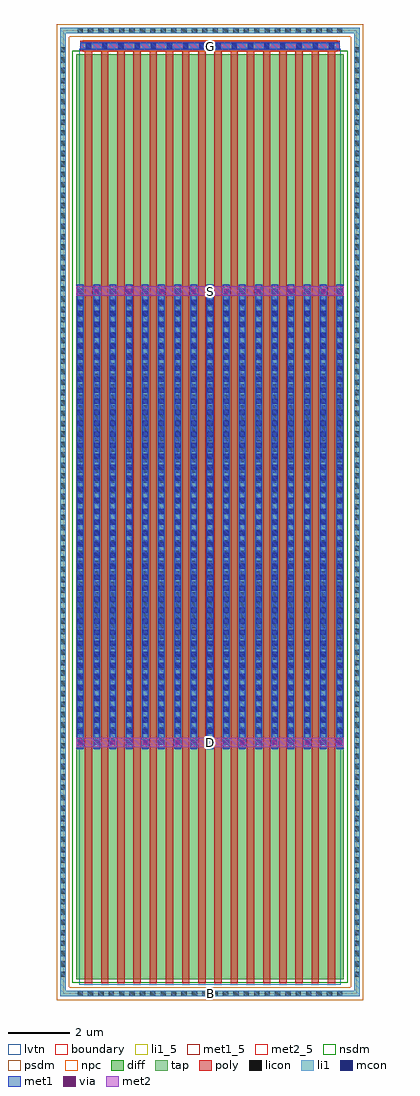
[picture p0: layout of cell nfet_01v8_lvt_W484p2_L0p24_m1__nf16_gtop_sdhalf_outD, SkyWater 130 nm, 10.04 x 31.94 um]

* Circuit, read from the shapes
.subckt nfet_01v8_lvt_W484p2_L0p24_m1__nf16_gtop_sdhalf_outD B D G S
XM1 S G D B sky130_fd_pr__nfet_01v8_lvt w=30.26 l=0.24 m=16
.ends

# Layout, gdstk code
import gdstk
lib = gdstk.Library(unit=1e-6, precision=1e-09)
def R(c, l, rs):  # rectangles x0, y0, x1, y1
    for r in rs: c.add(gdstk.rectangle(r[:2], r[2:], *l))
def A(c, l, x, y, w, h, nx, ny, dx, dy):  # array of equal rectangles
    R(c, l, [(x+i*dx, y+j*dy, x+i*dx+w, y+j*dy+h) for i in range(nx) for j in range(ny)])
diff = (65, 20)
tap = (65, 44)
poly = (66, 20)
licon = (66, 44)
li1_5 = (67, 5)
li1 = (67, 20)
mcon = (67, 44)
met1_5 = (68, 5)
met1 = (68, 20)
via = (68, 44)
met2_5 = (69, 5)
met2 = (69, 20)
nsdm = (93, 44)
psdm = (94, 20)
npc = (95, 20)
lvtn = (125, 44)
boundary = (235, 4)

sky130_fd_pr__nfet_01v8_ = lib.new_cell('sky130_fd_pr__nfet_01v8_lvt_XSEP3B')
R(sky130_fd_pr__nfet_01v8_, diff, [(-4.385,-15.285,4.385,14.975)])
R(sky130_fd_pr__nfet_01v8_, tap, [(-4.895,-15.845,4.895,-15.675), (-4.895,-15.675,-4.725,15.675), (4.725,-15.675,4.895,15.675), (-4.895,15.675,4.895,15.845)])
A(sky130_fd_pr__nfet_01v8_, poly, -4.095, -15.415, 0.24, 30.5, 16, 1, 0.53, 0)
R(sky130_fd_pr__nfet_01v8_, poly, [(-4.24,15.085,4.24,15.415)])
A(sky130_fd_pr__nfet_01v8_, licon, -4.335, -15.845, 0.17, 0.17, 26, 2, 0.34, 31.52)
A(sky130_fd_pr__nfet_01v8_, licon, -4.895, -15.215, 0.17, 0.17, 1, 90, 0, 0.34)
A(sky130_fd_pr__nfet_01v8_, licon, 4.725, -15.215, 0.17, 0.17, 1, 90, 0, 0.34)
A(sky130_fd_pr__nfet_01v8_, licon, -4.325, -7.55, 0.17, 0.17, 17, 44, 0.53, 0.34)
A(sky130_fd_pr__nfet_01v8_, licon, -4.06, 15.165, 0.17, 0.17, 16, 1, 0.53, 0)
A(sky130_fd_pr__nfet_01v8_, li1, -4.325, -7.77, 0.17, 15.23, 17, 1, 0.53, 0)
R(sky130_fd_pr__nfet_01v8_, li1, [(-4.895,-15.845,4.895,-15.675), (-4.895,-15.675,-4.725,15.675), (4.725,-15.675,4.895,15.675), (-4.24,15.165,4.24,15.335), (-4.895,15.675,4.895,15.845)])
A(sky130_fd_pr__nfet_01v8_, mcon, -4.325, -7.62, 0.17, 0.17, 17, 42, 0.53, 0.36)
A(sky130_fd_pr__nfet_01v8_, mcon, -4.06, 15.165, 0.17, 0.17, 16, 1, 0.53, 0)
A(sky130_fd_pr__nfet_01v8_, met1, -4.355, -7.75, 0.23, 15.19, 17, 1, 0.53, 0)
A(sky130_fd_pr__nfet_01v8_, met1, -4.12, 15.135, 0.29, 0.03, 16, 2, 0.53, 0.2)
R(sky130_fd_pr__nfet_01v8_, met1, [(-4.24,15.165,4.24,15.335)])
R(sky130_fd_pr__nfet_01v8_, nsdm, [(-4.51,-15.41,4.51,15.1)])
R(sky130_fd_pr__nfet_01v8_, psdm, [(-5.02,-15.97,5.02,-15.55), (-5.02,-15.55,-4.6,15.55), (4.6,-15.55,5.02,15.55), (-5.02,15.55,5.02,15.97)])
R(sky130_fd_pr__nfet_01v8_, npc, [(-4.16,15.065,4.16,15.435)])
R(sky130_fd_pr__nfet_01v8_, lvtn, [(-4.275,-15.465,4.275,15.155)])
R(sky130_fd_pr__nfet_01v8_, boundary, [(-4.81,-15.76,4.81,15.76)])
sky130_fd_pr__nfet_01v8_.add(gdstk.Label('B', (0,-15.76), layer=67, texttype=5))
sky130_fd_pr__nfet_01v8_.add(gdstk.Label('D0', (-4.24,-0.155), layer=67, texttype=5))
sky130_fd_pr__nfet_01v8_.add(gdstk.Label('G', (3.975,15.25), layer=67, texttype=5))
sky130_fd_pr__nfet_01v8_.add(gdstk.Label('G', (3.445,15.25), layer=67, texttype=5))
sky130_fd_pr__nfet_01v8_.add(gdstk.Label('G', (2.915,15.25), layer=67, texttype=5))
sky130_fd_pr__nfet_01v8_.add(gdstk.Label('G', (2.385,15.25), layer=67, texttype=5))
sky130_fd_pr__nfet_01v8_.add(gdstk.Label('G', (1.855,15.25), layer=67, texttype=5))
sky130_fd_pr__nfet_01v8_.add(gdstk.Label('G', (1.325,15.25), layer=67, texttype=5))
sky130_fd_pr__nfet_01v8_.add(gdstk.Label('G', (0.795,15.25), layer=67, texttype=5))
sky130_fd_pr__nfet_01v8_.add(gdstk.Label('G', (0.265,15.25), layer=67, texttype=5))
sky130_fd_pr__nfet_01v8_.add(gdstk.Label('G', (-0.265,15.25), layer=67, texttype=5))
sky130_fd_pr__nfet_01v8_.add(gdstk.Label('G', (-0.795,15.25), layer=67, texttype=5))
sky130_fd_pr__nfet_01v8_.add(gdstk.Label('G', (-1.325,15.25), layer=67, texttype=5))
sky130_fd_pr__nfet_01v8_.add(gdstk.Label('G', (-1.855,15.25), layer=67, texttype=5))
sky130_fd_pr__nfet_01v8_.add(gdstk.Label('G', (-2.385,15.25), layer=67, texttype=5))
sky130_fd_pr__nfet_01v8_.add(gdstk.Label('G', (-2.915,15.25), layer=67, texttype=5))
sky130_fd_pr__nfet_01v8_.add(gdstk.Label('G', (-3.445,15.25), layer=67, texttype=5))
sky130_fd_pr__nfet_01v8_.add(gdstk.Label('G', (-3.975,15.25), layer=67, texttype=5))
sky130_fd_pr__nfet_01v8_.add(gdstk.Label('S1', (-3.71,-0.155), layer=67, texttype=5))
sky130_fd_pr__nfet_01v8_.add(gdstk.Label('D2', (-3.18,-0.155), layer=67, texttype=5))
sky130_fd_pr__nfet_01v8_.add(gdstk.Label('S3', (-2.65,-0.155), layer=67, texttype=5))
sky130_fd_pr__nfet_01v8_.add(gdstk.Label('D4', (-2.12,-0.155), layer=67, texttype=5))
sky130_fd_pr__nfet_01v8_.add(gdstk.Label('S5', (-1.59,-0.155), layer=67, texttype=5))
sky130_fd_pr__nfet_01v8_.add(gdstk.Label('D6', (-1.06,-0.155), layer=67, texttype=5))
sky130_fd_pr__nfet_01v8_.add(gdstk.Label('S7', (-0.53,-0.155), layer=67, texttype=5))
sky130_fd_pr__nfet_01v8_.add(gdstk.Label('D8', (0,-0.155), layer=67, texttype=5))
sky130_fd_pr__nfet_01v8_.add(gdstk.Label('S9', (0.53,-0.155), layer=67, texttype=5))
sky130_fd_pr__nfet_01v8_.add(gdstk.Label('D10', (1.06,-0.155), layer=67, texttype=5))
sky130_fd_pr__nfet_01v8_.add(gdstk.Label('S11', (1.59,-0.155), layer=67, texttype=5))
sky130_fd_pr__nfet_01v8_.add(gdstk.Label('D12', (2.12,-0.155), layer=67, texttype=5))
sky130_fd_pr__nfet_01v8_.add(gdstk.Label('S13', (2.65,-0.155), layer=67, texttype=5))
sky130_fd_pr__nfet_01v8_.add(gdstk.Label('D14', (3.18,-0.155), layer=67, texttype=5))
sky130_fd_pr__nfet_01v8_.add(gdstk.Label('S15', (3.71,-0.155), layer=67, texttype=5))

nfet_01v8_lvt_w484p2_l0p = lib.new_cell('nfet_01v8_lvt_W484p2_L0p24_m1__nf16_gtop_sdhalf_outD')
R(nfet_01v8_lvt_w484p2_l0p, li1_5, [(4.725,-0.085,4.895,0.085)])
R(nfet_01v8_lvt_w484p2_l0p, li1, [(4.725,-0.085,4.895,0.085)])
R(nfet_01v8_lvt_w484p2_l0p, met1_5, [(0.57,30.895,9.05,31.125)])
A(nfet_01v8_lvt_w484p2_l0p, met1, 0.44, 8.06, 0.26, 0.32, 9, 1, 1.06, 0)
A(nfet_01v8_lvt_w484p2_l0p, met1, 0.97, 22.83, 0.26, 0.32, 8, 1, 1.06, 0)
R(nfet_01v8_lvt_w484p2_l0p, met1, [(0.57,30.895,9.05,31.125)])
A(nfet_01v8_lvt_w484p2_l0p, via, 0.495, 8.145, 0.15, 0.15, 9, 1, 1.06, 0)
A(nfet_01v8_lvt_w484p2_l0p, via, 1.025, 22.915, 0.15, 0.15, 8, 1, 1.06, 0)
R(nfet_01v8_lvt_w484p2_l0p, met2_5, [(0.435,8.06,9.185,8.38), (0.435,22.83,9.185,23.15)])
R(nfet_01v8_lvt_w484p2_l0p, met2, [(0.435,8.06,9.185,8.38), (0.435,22.83,9.185,23.15)])
nfet_01v8_lvt_w484p2_l0p.add(gdstk.Reference(sky130_fd_pr__nfet_01v8_, (4.81,15.76)))
nfet_01v8_lvt_w484p2_l0p.add(gdstk.Label('S', (4.81,22.99), layer=69, texttype=5))
nfet_01v8_lvt_w484p2_l0p.add(gdstk.Label('D', (4.81,8.22), layer=69, texttype=5))
nfet_01v8_lvt_w484p2_l0p.add(gdstk.Label('G', (4.81,31.01), layer=68, texttype=5))
nfet_01v8_lvt_w484p2_l0p.add(gdstk.Label('B', (4.81,0), layer=67, texttype=5))

lib.write_gds('nfet_01v8_lvt_W484p2_L0p24_m1__nf16_gtop_sdhalf_outD.gds')
